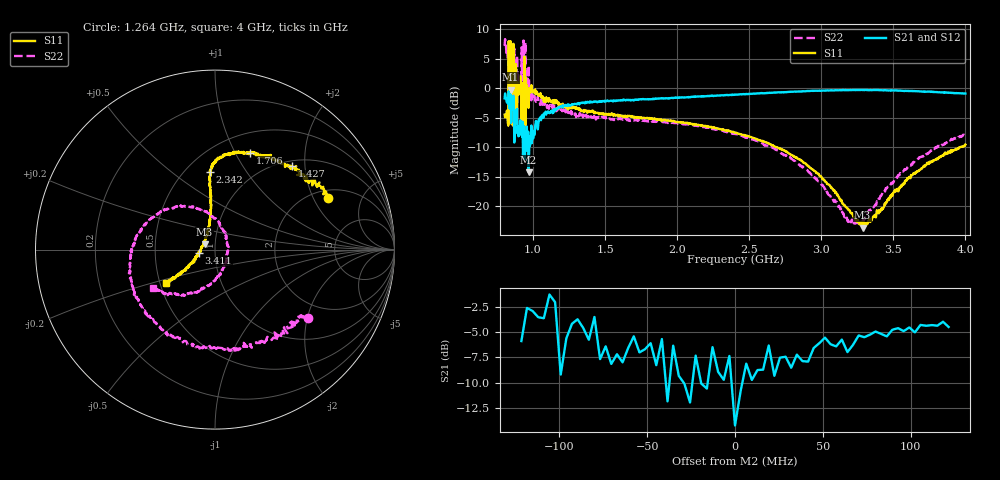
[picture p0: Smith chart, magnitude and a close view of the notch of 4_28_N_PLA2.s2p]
!Keysight Technologies N9950B: A.12.38
!Date: Friday, 28 April 2023 16:36:41
!Timezone: (UTC-06:00) Central Time (US & Canada)
!Model: N9950B
!Serial: MY61131330
!GPS Latitude:
!GPS Longitude:
!GPS TimeStamp: 0001-01-01 00:00:00Z
!GPS Seconds Since Last Read: 0
!CHECKSUM:2093214538
!Correction: S11(ON U)S21(ON U)S12(ON U)S22(ON U)
!S2P File: Measurements:S11,S21,S12,S22:
# Hz S DB R 50
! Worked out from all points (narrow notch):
!   1000 points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, 803.2 MHz to 4 GHz, reference 50 ohm
!   highest |S21| = -0.20 dB at 844.8 MHz (marker M1); lowest = -14.2 dB at 969.6 MHz (marker M2)
!   notch at M2: 13.2 dB deep, 20.5 MHz wide at half that depth
!   lowest |S11| = -23.7 dB at 3.286 GHz (marker M3), VSWR 1.14, Z = 44.4 + j2.72 ohm
!   |S11| at or under -10 dB: 2.688 GHz to 3.958 GHz (1.27 GHz wide, 38.2 % of centre); 3.959951 GHz to 3.96498 GHz (5.029 MHz wide, 0.127 % of centre)
!   |S22| runs from -23.2 to 8.4 dB; largest |S21 - S12| = 1
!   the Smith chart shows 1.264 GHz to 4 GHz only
!   S11 on the Smith chart (normalised r, x): 1.264 GHz: 2.38, +2.59; 1.427 GHz: 1.11, +1.72; 1.706 GHz: 0.71, +1.15; 2.342 GHz: 0.65, +0.70; 3.411 GHz: 0.83, -0.03; 4 GHz: 0.54, -0.23
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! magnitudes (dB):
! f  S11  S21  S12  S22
! 803.2 MHz  -4.5  -1.7  -1.7  7.2
! 825.6 MHz  -5.9  -2.5  1.3  4.7
! 844.8 MHz  8.0  -0.2  -0.2  -3.0
! 867.2 MHz  6.0  -2.0  -2.1  -1.5
! 876.8 MHz  3.9  -4.2  -4.2  -0.9
! 931.2 MHz  -1.4  -11.8  -11.9  1.5
! 969.6 MHz  -3.3  -14.2  -14.2  3.9
! 1.075 GHz  -2.3  -4.3  -4.3  -2.2
! 1.264 GHz  -3.2  -2.9  -2.9  -3.8
! 1.338 GHz  -3.9  -2.5  -2.5  -4.5
! 1.427 GHz  -4.0  -2.3  -2.3  -5.0
! 1.706 GHz  -4.8  -2.0  -2.0  -5.3
! 1.869 GHz  -5.3  -1.7  -1.7  -5.6
! 2.342 GHz  -7.2  -1.1  -1.2  -7.4
! 2.403 GHz  -7.5  -1.1  -1.1  -7.8
! 2.934 GHz  -13.7  -0.4  -0.4  -14.7
! 3.174 GHz  -20.2  -0.3  -0.3  -22.3
! 3.286 GHz  -23.7  -0.3  -0.3  -23.2
! 3.411 GHz  -20.7  -0.3  -0.3  -18.2
! 3.469 GHz  -19.0  -0.4  -0.4  -16.5
! 3.725 GHz  -13.0  -0.6  -0.6  -11.3
! 4 GHz  -9.6  -0.9  -0.9  -7.8
